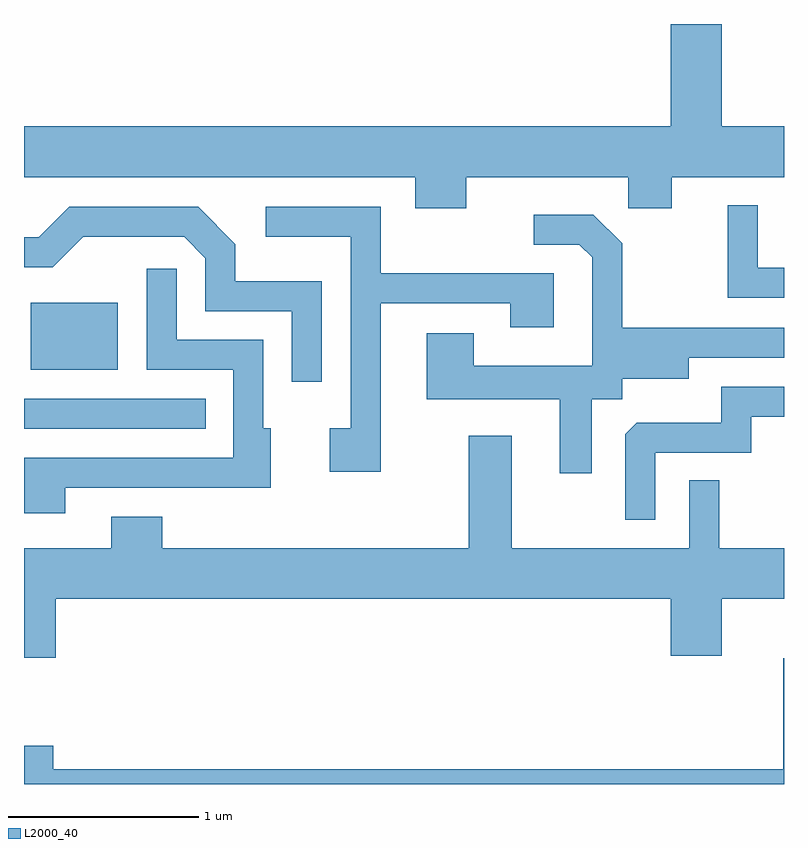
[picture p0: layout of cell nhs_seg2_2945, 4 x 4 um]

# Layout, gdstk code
import gdstk
lib = gdstk.Library(unit=1e-6, precision=1e-09)
def R(c, l, rs):  # rectangles x0, y0, x1, y1
    for r in rs: c.add(gdstk.rectangle(r[:2], r[2:], *l))
def P(c, l, *ps):  # polygons
    for p in ps: c.add(gdstk.Polygon(p, *l))
L2000_40 = (2000, 40)

nhs_seg2_2945 = lib.new_cell('nhs_seg2_2945')
R(nhs_seg2_2945, L2000_40, [(271.611,1033.671,272.568,1033.829), (271.646,1033.981,272.104,1034.334)])
P(nhs_seg2_2945, L2000_40, [(273.939,1034.996),(274.791,1034.996),(274.791,1034.831),(275.019,1034.831),(275.019,1034.996),(275.611,1034.996),(275.611,1035.264),(275.284,1035.264),(275.284,1035.802),(275.016,1035.802),(275.016,1035.264),(271.611,1035.264),(271.611,1034.996),(273.671,1034.996),(273.671,1034.831),(273.939,1034.831)],
  [(275.611,1034.519),(275.474,1034.519),(275.474,1034.848),(275.316,1034.848),(275.316,1034.361),(275.611,1034.361)],
  [(273.489,1034.331),(274.171,1034.331),(274.171,1034.206),(274.399,1034.206),(274.399,1034.489),(273.489,1034.489),(273.489,1034.839),(272.883,1034.839),(272.883,1034.681),(273.331,1034.681),(273.331,1033.674),(273.221,1033.674),(273.221,1033.446),(273.489,1033.446)],
  [(273.179,1034.449),(272.724,1034.449),(272.724,1034.642),(272.527,1034.839),(271.849,1034.839),(271.689,1034.679),(271.611,1034.679),(271.611,1034.521),(271.762,1034.521),(271.922,1034.681),(272.454,1034.681),(272.566,1034.569),(272.566,1034.291),(273.021,1034.291),(273.021,1033.918),(273.179,1033.918)],
  [(274.599,1033.826),(274.759,1033.826),(274.759,1033.936),(275.109,1033.936),(275.109,1034.046),(275.611,1034.046),(275.611,1034.204),(274.759,1034.204),(274.759,1034.647),(274.607,1034.799),(274.293,1034.799),(274.293,1034.641),(274.534,1034.641),(274.601,1034.574),(274.601,1034.004),(273.979,1034.004),(273.979,1034.174),(273.731,1034.174),(273.731,1033.826),(274.431,1033.826),(274.431,1033.438),(274.599,1033.438)],
  [(271.829,1033.361),(272.909,1033.361),(272.909,1033.674),(272.869,1033.674),(272.869,1034.139),(272.414,1034.139),(272.414,1034.513),(272.256,1034.513),(272.256,1033.981),(272.711,1033.981),(272.711,1033.519),(271.611,1033.519),(271.611,1033.226),(271.829,1033.226)],
  [(274.934,1033.546),(275.439,1033.546),(275.439,1033.736),(275.611,1033.736),(275.611,1033.894),(275.281,1033.894),(275.281,1033.704),(274.837,1033.704),(274.776,1033.644),(274.776,1033.193),(274.934,1033.193)],
  [(271.779,1032.776),(275.016,1032.776),(275.016,1032.476),(275.284,1032.476),(275.284,1032.776),(275.611,1032.776),(275.611,1033.044),(275.269,1033.044),(275.269,1033.402),(275.111,1033.402),(275.111,1033.044),(274.179,1033.044),(274.179,1033.634),(273.951,1033.634),(273.951,1033.044),(272.339,1033.044),(272.339,1033.209),(272.071,1033.209),(272.071,1033.044),(271.611,1033.044),(271.611,1032.466),(271.779,1032.466)],
  [(275.611,1032.464),(275.606,1032.464),(275.606,1031.879),(271.764,1031.879),(271.764,1032.004),(271.611,1032.004),(271.611,1031.802),(275.611,1031.802)])

lib.write_gds('nhs_seg2_2945.gds')
